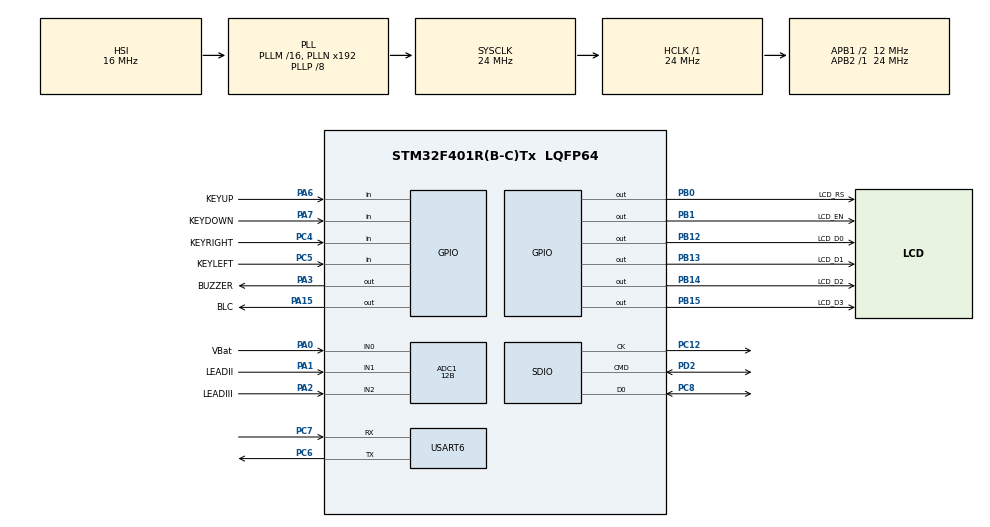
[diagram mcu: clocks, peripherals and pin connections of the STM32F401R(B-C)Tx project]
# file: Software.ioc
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ADC1.Channel-0\#ChannelRegularConversion=ADC_CHANNEL_1
ADC1.Channel-4\#ChannelInjectedConversion=ADC_CHANNEL_0
ADC1.ClockPrescaler=ADC_CLOCK_SYNC_PCLK_DIV8
ADC1.ContinuousConvMode=ENABLE
ADC1.DMAContinuousRequests=ENABLE
ADC1.DataAlign=ADC_DATAALIGN_RIGHT
ADC1.DiscontinuousConvMode=DISABLE
ADC1.EOCSelection=ADC_EOC_SINGLE_CONV
ADC1.EnableAnalogWatchDog=false
ADC1.ExternalTrigConv=ADC_SOFTWARE_START
ADC1.ExternalTrigConvEdge=ADC_EXTERNALTRIGCONVEDGE_NONE
ADC1.InjNumberOfConversion=1
ADC1.InjectedConvMode=None
ADC1.InjectedOffset-4\#ChannelInjectedConversion=0
ADC1.NbrOfConversion=1
ADC1.NbrOfConversionFlag=1
ADC1.Rank-0\#ChannelRegularConversion=1
ADC1.Rank-4\#ChannelInjectedConversion=1
ADC1.Resolution=ADC_RESOLUTION_12B
ADC1.SamplingTime-0\#ChannelRegularConversion=ADC_SAMPLETIME_480CYCLES
ADC1.SamplingTime-4\#ChannelInjectedConversion=ADC_SAMPLETIME_3CYCLES
ADC1.ScanConvMode=ENABLE
ADC1.master=1
Dma.ADC1.0.Direction=DMA_PERIPH_TO_MEMORY
Dma.ADC1.0.FIFOMode=DMA_FIFOMODE_DISABLE
Dma.ADC1.0.Instance=DMA2_Stream0
Dma.ADC1.0.MemDataAlignment=DMA_MDATAALIGN_HALFWORD
Dma.ADC1.0.MemInc=DMA_MINC_ENABLE
Dma.ADC1.0.Mode=DMA_CIRCULAR
Dma.ADC1.0.PeriphDataAlignment=DMA_PDATAALIGN_HALFWORD
Dma.ADC1.0.PeriphInc=DMA_PINC_DISABLE
Dma.ADC1.0.Priority=DMA_PRIORITY_LOW
Dma.Request0=ADC1
FREERTOS.Queues01=KeysCommand,16,uint16_t,NULL,Dynamic,NULL,NULL;BLK_EN_Q,16,uint16_t,NULL,Dynamic,NULL,NULL
FREERTOS.Tasks01=ReadSignal,2,128,StartReadSignal,Default,NULL,Dynamic,NULL,NULL;DisplayLCD,-3,128,StartDispalyLCD,Default,NULL,Dynamic,NULL,NULL;MonitorKeys,0,128,StartMonitorKeys,Default,NULL,Dynamic,NULL,NULL;WriteSD,2,128,StartWriteSD,Default,NULL,Dynamic,NULL,NULL;TimeCount,-3,128,StartTimeCount,Default,NULL,Dynamic,NULL,NULL;BLK_EN_Task,-3,128,Start_BLKEN,Default,NULL,Dynamic,NULL,NULL;VBat_Monitor,-3,128,Read_Vbat,Default,NULL,Dynamic,NULL,NULL
Mcu.Family=STM32F4
Mcu.Name=STM32F401R(B-C)Tx
Mcu.Package=LQFP64
NVIC.DMA2_Stream0_IRQn=true\:5\:0\:false\:false\:true\:true\:false
NVIC.PriorityGroup=NVIC_PRIORITYGROUP_4
NVIC.RTC_Alarm_IRQn=true\:5\:0\:false\:false\:true\:true\:true
NVIC.TIM1_UP_TIM10_IRQn=true\:0\:0\:false\:false\:true\:false\:false
NVIC.TimeBase=TIM1_UP_TIM10_IRQn
NVIC.TimeBaseIP=TIM1
PA0-WKUP.GPIO_Label=VBat
PA0-WKUP.Signal=ADCx_IN0
PA1.GPIO_Label=LEADII
PA1.Signal=ADCx_IN1
PA15.GPIO_Label=BLC
PA15.Signal=GPIO_Output
PA2.GPIO_Label=LEADIII
PA2.Signal=ADCx_IN2
PA3.GPIO_Label=BUZZER
PA3.Signal=GPIO_Output
PA6.GPIO_Label=KEYUP
PA6.GPIO_PuPd=GPIO_PULLUP
PA6.Signal=GPIO_Input
PA7.GPIO_Label=KEYDOWN
PA7.GPIO_PuPd=GPIO_PULLUP
PA7.Signal=GPIO_Input
PB0.GPIO_Label=LCD_RS
PB0.Signal=GPIO_Output
PB1.GPIO_Label=LCD_EN
PB1.Signal=GPIO_Output
PB12.GPIO_Label=LCD_D0
PB12.Signal=GPIO_Output
PB13.GPIO_Label=LCD_D1
PB13.Signal=GPIO_Output
PB14.GPIO_Label=LCD_D2
PB14.Signal=GPIO_Output
PB15.GPIO_Label=LCD_D3
PB15.Signal=GPIO_Output
PC12.Mode=SD_1_bit
PC12.Signal=SDIO_CK
PC4.GPIO_Label=KEYRIGHT
PC4.GPIO_PuPd=GPIO_PULLUP
PC4.Signal=GPIO_Input
PC5.GPIO_Label=KEYLEFT
PC5.GPIO_PuPd=GPIO_PULLUP
PC5.Signal=GPIO_Input
PC6.Mode=Asynchronous
PC6.Signal=USART6_TX
PC7.Mode=Asynchronous
PC7.Signal=USART6_RX
PC8.Mode=SD_1_bit
PC8.Signal=SDIO_D0
PD2.Mode=SD_1_bit
PD2.Signal=SDIO_CMD
ProjectManager.HeapSize=0x200
ProjectManager.StackSize=0x400
ProjectManager.TargetToolchain=MDK-ARM V5
RCC.48MHZClocksFreq_Value=24000000
RCC.AHBFreq_Value=24000000
RCC.APB1CLKDivider=RCC_HCLK_DIV2
RCC.APB1Freq_Value=12000000
RCC.APB1TimFreq_Value=24000000
RCC.APB2Freq_Value=24000000
RCC.APB2TimFreq_Value=24000000
RCC.CortexFreq_Value=24000000
RCC.HCLKFreq_Value=24000000
RCC.HSE_VALUE=8000000
RCC.HSI_VALUE=16000000
RCC.LSE_VALUE=32768
RCC.PLLP=RCC_PLLP_DIV8
RCC.PLLQ=8
RCC.SYSCLKFreq_VALUE=24000000
RCC.SYSCLKSource=RCC_SYSCLKSOURCE_PLLCLK
RCC.VCOOutputFreq_Value=192000000
RTC.Alarm=RTC_ALARM_A
RTC.Date=1
RTC.Format=RTC_FORMAT_BIN
RTC.HourFormat=RTC_HOURFORMAT_24
RTC.Hours=0
RTC.Minutes=0
RTC.Seconds=0
RTC.Seconds_A=1
RTC.StoreOperation=RTC_STOREOPERATION_SET
RTC.SynchPrediv=251
RTC.Year=18
SH.ADCx_IN0.0=ADC1_IN0,IN0
SH.ADCx_IN1.0=ADC1_IN1,IN1
SH.ADCx_IN2.0=ADC1_IN2,IN2
USART6.VirtualMode=VM_ASYNC
VP_FATFS_VS_SDIO.Mode=SDIO
VP_FREERTOS_VS_ENABLE.Mode=Enabled
VP_RTC_VS_RTC_Activate.Mode=RTC_Enabled
VP_RTC_VS_RTC_Alarm_A_Intern.Mode=Alarm A
VP_RTC_VS_RTC_Calendar.Mode=RTC_Calendar
VP_SYS_VS_tim1.Mode=TIM1
board=Software

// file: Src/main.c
/**
  ******************************************************************************
  * File Name          : main.c
  * Description        : Main program body
  ******************************************************************************
  * This notice applies to any and all portions of this file
  * that are not between comment pairs USER CODE BEGIN and
  * USER CODE END. Other portions of this file, whether
  * inserted by the user or by software development tools
  * are owned by their respective copyright owners.
  *
  * Copyright (c) 2018 STMicroelectronics International N.V.
  * All rights reserved.
  *
  * Redistribution and use in source and binary forms, with or without
  * modification, are permitted, provided that the following conditions are met:
  *
  * 1. Redistribution of source code must retain the above copyright notice,
  *    this list of conditions and the following disclaimer.
  * 2. Redistributions in binary form must reproduce the above copyright notice,
  *    this list of conditions and the following disclaimer in the documentation
  *    and/or other materials provided with the distribution.
  * 3. Neither the name of STMicroelectronics nor the names of other
  *    contributors to this software may be used to endorse or promote products
  *    derived from this software without specific written permission.
  * 4. This software, including modifications and/or derivative works of this
  *    software, must execute solely and exclusively on microcontroller or
  *    microprocessor devices manufactured by or for STMicroelectronics.
  * 5. Redistribution and use of this software other than as permitted under
  *    this license is void and will automatically terminate your rights under
  *    this license.
  *
  * THIS SOFTWARE IS PROVIDED BY STMICROELECTRONICS AND CONTRIBUTORS "AS IS"
  * AND ANY EXPRESS, IMPLIED OR STATUTORY WARRANTIES, INCLUDING, BUT NOT
  * LIMITED TO, THE IMPLIED WARRANTIES OF MERCHANTABILITY, FITNESS FOR A
  * PARTICULAR PURPOSE AND NON-INFRINGEMENT OF THIRD PARTY INTELLECTUAL PROPERTY
  * RIGHTS ARE DISCLAIMED TO THE FULLEST EXTENT PERMITTED BY LAW. IN NO EVENT
  * SHALL STMICROELECTRONICS OR CONTRIBUTORS BE LIABLE FOR ANY DIRECT, INDIRECT,
  * INCIDENTAL, SPECIAL, EXEMPLARY, OR CONSEQUENTIAL DAMAGES (INCLUDING, BUT NOT
  * LIMITED TO, PROCUREMENT OF SUBSTITUTE GOODS OR SERVICES; LOSS OF USE, DATA,
  * OR PROFITS; OR BUSINESS INTERRUPTION) HOWEVER CAUSED AND ON ANY THEORY OF
  * LIABILITY, WHETHER IN CONTRACT, STRICT LIABILITY, OR TORT (INCLUDING
  * NEGLIGENCE OR OTHERWISE) ARISING IN ANY WAY OUT OF THE USE OF THIS SOFTWARE,
  * EVEN IF ADVISED OF THE POSSIBILITY OF SUCH DAMAGE.
  *
  ******************************************************************************
  */
#include "main.h"
#include "stm32f4xx_hal.h"
#include "cmsis_os.h"
#include "fatfs.h"

/* USER CODE BEGIN Includes */
#include "stm32_topway_16x2.h"
#include "RTC_user_init.h"
/* USER CODE END Includes */

ADC_HandleTypeDef hadc1;
DMA_HandleTypeDef hdma_adc1;

RTC_HandleTypeDef hrtc;

SD_HandleTypeDef hsd;

UART_HandleTypeDef huart6;

osThreadId ReadSignalHandle;
osThreadId DisplayLCDHandle;
osThreadId MonitorKeysHandle;
osThreadId WriteSDHandle;
osThreadId TimeCountHandle;
osThreadId BLK_EN_TaskHandle;
osThreadId VBat_MonitorHandle;
osMessageQId KeysCommandHandle;
osMessageQId BLK_EN_QHandle;

/* USER CODE BEGIN PV */
/* Type definitions ---------------------------------------------------------*/

/* Private variables ---------------------------------------------------------*/
static volatile uint16_t dma_buffer[16];
uint16_t Adc_values[16];
static volatile uint16_t Vbat_value;
/* USER CODE END PV */

void SystemClock_Config(void);
static void MX_GPIO_Init(void);
static void MX_DMA_Init(void);
static void MX_ADC1_Init(void);
static void MX_SDIO_SD_Init(void);
static void MX_USART6_UART_Init(void);
static void MX_RTC_Init(void);
void StartReadSignal(void const * argument);
void StartDispalyLCD(void const * argument);
void StartMonitorKeys(void const * argument);
void StartWriteSD(void const * argument);
void StartTimeCount(void const * argument);
void Start_BLKEN(void const * argument);
void Read_Vbat(void const * argument);

/* USER CODE BEGIN PFP */
/* Private function prototypes -----------------------------------------------*/

/* USER CODE END PFP */

/* USER CODE BEGIN 0 */
void HAL_ADC_ConvCpltCallback(ADC_HandleTypeDef* hadc)
{
	uint8_t indx = 0;
	for(indx = 0; indx < 16; indx++)
	{
		Adc_values[indx] = dma_buffer[indx];
	}
}

/* USER CODE END 0 */

int main(void)
{

  /* MCU Configuration----------------------------------------------------------*/

  /* Reset of all peripherals, Initializes the Flash interface and the Systick. */
  HAL_Init();

  /* Configure the system clock */
  SystemClock_Config();

  /* Initialize all configured peripherals */
  MX_GPIO_Init();
  MX_DMA_Init();
  MX_ADC1_Init();
  MX_SDIO_SD_Init();
  MX_USART6_UART_Init();
  MX_RTC_Init();

  /* USER CODE BEGIN 2 */
  LCD1602_Begin4BIT(LCD_RS_GPIO_Port, LCD_RS_Pin, LCD_EN_Pin,
  LCD_D0_GPIO_Port, LCD_D0_Pin, LCD_D1_Pin, LCD_D2_Pin, LCD_D3_Pin);
  LCD1602_noCursor();
  LCD1602_noBlink();
  LCD1602_clear();
  HAL_ADC_Start(&hadc1);
  HAL_ADC_Start_DMA(&hadc1, (uint32_t*)dma_buffer, 16);
  SetSystemTime();
  /* USER CODE END 2 */

  /* Create the thread(s) */
  /* definition and creation of ReadSignal */
  osThreadDef(ReadSignal, StartReadSignal, osPriorityHigh, 0, 128);
  ReadSignalHandle = osThreadCreate(osThread(ReadSignal), NULL);

  /* definition and creation of DisplayLCD */
  osThreadDef(DisplayLCD, StartDispalyLCD, osPriorityIdle, 0, 128);
  DisplayLCDHandle = osThreadCreate(osThread(DisplayLCD), NULL);

  /* definition and creation of MonitorKeys */
  osThreadDef(MonitorKeys, StartMonitorKeys, osPriorityNormal, 0, 128);
  MonitorKeysHandle = osThreadCreate(osThread(MonitorKeys), NULL);

  /* definition and creation of WriteSD */
  osThreadDef(WriteSD, StartWriteSD, osPriorityHigh, 0, 128);
  WriteSDHandle = osThreadCreate(osThread(WriteSD), NULL);

  /* definition and creation of TimeCount */
  osThreadDef(TimeCount, StartTimeCount, osPriorityIdle, 0, 128);
  TimeCountHandle = osThreadCreate(osThread(TimeCount), NULL);

  /* definition and creation of BLK_EN_Task */
  osThreadDef(BLK_EN_Task, Start_BLKEN, osPriorityIdle, 0, 128);
  BLK_EN_TaskHandle = osThreadCreate(osThread(BLK_EN_Task), NULL);

  /* definition and creation of VBat_Monitor */
  osThreadDef(VBat_Monitor, Read_Vbat, osPriorityIdle, 0, 128);
  VBat_MonitorHandle = osThreadCreate(osThread(VBat_Monitor), NULL);

  /* Create the queue(s) */
  /* definition and creation of KeysCommand */
  osMessageQDef(KeysCommand, 16, uint16_t);
  KeysCommandHandle = osMessageCreate(osMessageQ(KeysCommand), NULL);

  /* definition and creation of BLK_EN_Q */
  osMessageQDef(BLK_EN_Q, 16, uint16_t);
  BLK_EN_QHandle = osMessageCreate(osMessageQ(BLK_EN_Q), NULL);

  /* Start scheduler */
  osKernelStart();

  /* We should never get here as control is now taken by the scheduler */

  /* Infinite loop */
  while (1)
  {

  }

}

/** System Clock Configuration
*/
void SystemClock_Config(void)
{

  RCC_OscInitTypeDef RCC_OscInitStruct;
  RCC_ClkInitTypeDef RCC_ClkInitStruct;
  RCC_PeriphCLKInitTypeDef PeriphClkInitStruct;

    /**Configure the main internal regulator output voltage
    */
  __HAL_RCC_PWR_CLK_ENABLE();

  __HAL_PWR_VOLTAGESCALING_CONFIG(PWR_REGULATOR_VOLTAGE_SCALE2);

    /**Initializes the CPU, AHB and APB busses clocks
    */
  RCC_OscInitStruct.OscillatorType = RCC_OSCILLATORTYPE_HSI|RCC_OSCILLATORTYPE_LSI;
  RCC_OscInitStruct.HSIState = RCC_HSI_ON;
  RCC_OscInitStruct.HSICalibrationValue = 16;
  RCC_OscInitStruct.LSIState = RCC_LSI_ON;
  RCC_OscInitStruct.PLL.PLLState = RCC_PLL_ON;
  RCC_OscInitStruct.PLL.PLLSource = RCC_PLLSOURCE_HSI;
  RCC_OscInitStruct.PLL.PLLM = 16;
  RCC_OscInitStruct.PLL.PLLN = 192;
  RCC_OscInitStruct.PLL.PLLP = RCC_PLLP_DIV8;
  RCC_OscInitStruct.PLL.PLLQ = 8;
  if (HAL_RCC_OscConfig(&RCC_OscInitStruct) != HAL_OK)
  {
    _Error_Handler(__FILE__, __LINE__);
  }

    /**Initializes the CPU, AHB and APB busses clocks
    */
  RCC_ClkInitStruct.ClockType = RCC_CLOCKTYPE_HCLK|RCC_CLOCKTYPE_SYSCLK
                              |RCC_CLOCKTYPE_PCLK1|RCC_CLOCKTYPE_PCLK2;
  RCC_ClkInitStruct.SYSCLKSource = RCC_SYSCLKSOURCE_PLLCLK;
  RCC_ClkInitStruct.AHBCLKDivider = RCC_SYSCLK_DIV1;
  RCC_ClkInitStruct.APB1CLKDivider = RCC_HCLK_DIV2;
  RCC_ClkInitStruct.APB2CLKDivider = RCC_HCLK_DIV1;

  if (HAL_RCC_ClockConfig(&RCC_ClkInitStruct, FLASH_LATENCY_0) != HAL_OK)
  {
    _Error_Handler(__FILE__, __LINE__);
  }

  PeriphClkInitStruct.PeriphClockSelection = RCC_PERIPHCLK_RTC;
  PeriphClkInitStruct.RTCClockSelection = RCC_RTCCLKSOURCE_LSI;
  if (HAL_RCCEx_PeriphCLKConfig(&PeriphClkInitStruct) != HAL_OK)
  {
    _Error_Handler(__FILE__, __LINE__);
  }

    /**Configure the Systick interrupt time
    */
  HAL_SYSTICK_Config(HAL_RCC_GetHCLKFreq()/1000);

    /**Configure the Systick
    */
  HAL_SYSTICK_CLKSourceConfig(SYSTICK_CLKSOURCE_HCLK);

  /* SysTick_IRQn interrupt configuration */
  HAL_NVIC_SetPriority(SysTick_IRQn, 15, 0);
}

/* ADC1 init function */
static void MX_ADC1_Init(void)
{

  ADC_ChannelConfTypeDef sConfig;
  ADC_InjectionConfTypeDef sConfigInjected;

    /**Configure the global features of the ADC (Clock, Resolution, Data Alignment and number of conversion)
    */
  hadc1.Instance = ADC1;
  hadc1.Init.ClockPrescaler = ADC_CLOCK_SYNC_PCLK_DIV8;
  hadc1.Init.Resolution = ADC_RESOLUTION_12B;
  hadc1.Init.ScanConvMode = ENABLE;
  hadc1.Init.ContinuousConvMode = ENABLE;
  hadc1.Init.DiscontinuousConvMode = DISABLE;
  hadc1.Init.ExternalTrigConvEdge = ADC_EXTERNALTRIGCONVEDGE_NONE;
  hadc1.Init.ExternalTrigConv = ADC_SOFTWARE_START;
  hadc1.Init.DataAlign = ADC_DATAALIGN_RIGHT;
  hadc1.Init.NbrOfConversion = 1;
  hadc1.Init.DMAContinuousRequests = ENABLE;
  hadc1.Init.EOCSelection = ADC_EOC_SINGLE_CONV;
  if (HAL_ADC_Init(&hadc1) != HAL_OK)
  {
    _Error_Handler(__FILE__, __LINE__);
  }

    /**Configure for the selected ADC regular channel its corresponding rank in the sequencer and its sample time.
    */
  sConfig.Channel = ADC_CHANNEL_1;
  sConfig.Rank = 1;
  sConfig.SamplingTime = ADC_SAMPLETIME_480CYCLES;
  if (HAL_ADC_ConfigChannel(&hadc1, &sConfig) != HAL_OK)
  {
    _Error_Handler(__FILE__, __LINE__);
  }

    /**Configures for the selected ADC injected channel its corresponding rank in the sequencer and its sample time
    */
  sConfigInjected.InjectedChannel = ADC_CHANNEL_0;
  sConfigInjected.InjectedRank = 1;
  sConfigInjected.InjectedNbrOfConversion = 1;
  sConfigInjected.InjectedSamplingTime = ADC_SAMPLETIME_3CYCLES;
  sConfigInjected.ExternalTrigInjecConvEdge = ADC_EXTERNALTRIGINJECCONVEDGE_NONE;
  sConfigInjected.ExternalTrigInjecConv = ADC_INJECTED_SOFTWARE_START;
  sConfigInjected.AutoInjectedConv = DISABLE;
  sConfigInjected.InjectedDiscontinuousConvMode = DISABLE;
  sConfigInjected.InjectedOffset = 0;
  if (HAL_ADCEx_InjectedConfigChannel(&hadc1, &sConfigInjected) != HAL_OK)
  {
    _Error_Handler(__FILE__, __LINE__);
  }

}

/* RTC init function */
static void MX_RTC_Init(void)
{

  RTC_TimeTypeDef sTime;
  RTC_DateTypeDef sDate;
  RTC_AlarmTypeDef sAlarm;

    /**Initialize RTC Only
    */
  hrtc.Instance = RTC;
  hrtc.Init.HourFormat = RTC_HOURFORMAT_24;
  hrtc.Init.AsynchPrediv = 127;
  hrtc.Init.SynchPrediv = 251;
  hrtc.Init.OutPut = RTC_OUTPUT_DISABLE;
  hrtc.Init.OutPutPolarity = RTC_OUTPUT_POLARITY_HIGH;
  hrtc.Init.OutPutType = RTC_OUTPUT_TYPE_OPENDRAIN;
  if (HAL_RTC_Init(&hrtc) != HAL_OK)
  {
    _Error_Handler(__FILE__, __LINE__);
  }

    /**Initialize RTC and set the Time and Date
    */
  if(HAL_RTCEx_BKUPRead(&hrtc, RTC_BKP_DR0) != 0x32F2){
  sTime.Hours = 0;
  sTime.Minutes = 0;
  sTime.Seconds = 0;
  sTime.DayLightSaving = RTC_DAYLIGHTSAVING_NONE;
  sTime.StoreOperation = RTC_STOREOPERATION_SET;
  if (HAL_RTC_SetTime(&hrtc, &sTime, RTC_FORMAT_BIN) != HAL_OK)
  {
    _Error_Handler(__FILE__, __LINE__);
  }

  sDate.WeekDay = RTC_WEEKDAY_MONDAY;
  sDate.Month = RTC_MONTH_JANUARY;
  sDate.Date = 1;
  sDate.Year = 18;

  if (HAL_RTC_SetDate(&hrtc, &sDate, RTC_FORMAT_BIN) != HAL_OK)
  {
    _Error_Handler(__FILE__, __LINE__);
  }

    HAL_RTCEx_BKUPWrite(&hrtc,RTC_BKP_DR0,0x32F2);
  }
    /**Enable the Alarm A
    */
  sAlarm.AlarmTime.Hours = 0;
  sAlarm.AlarmTime.Minutes = 0;
  sAlarm.AlarmTime.Seconds = 1;
  sAlarm.AlarmTime.SubSeconds = 0;
  sAlarm.AlarmTime.DayLightSaving = RTC_DAYLIGHTSAVING_NONE;
  sAlarm.AlarmTime.StoreOperation = RTC_STOREOPERATION_SET;
  sAlarm.AlarmMask = RTC_ALARMMASK_NONE;
  sAlarm.AlarmSubSecondMask = RTC_ALARMSUBSECONDMASK_ALL;
  sAlarm.AlarmDateWeekDaySel = RTC_ALARMDATEWEEKDAYSEL_DATE;
  sAlarm.AlarmDateWeekDay = 1;
  sAlarm.Alarm = RTC_ALARM_A;
  if (HAL_RTC_SetAlarm_IT(&hrtc, &sAlarm, RTC_FORMAT_BIN) != HAL_OK)
  {
    _Error_Handler(__FILE__, __LINE__);
  }

}

/* SDIO init function */
static void MX_SDIO_SD_Init(void)
{

  hsd.Instance = SDIO;
  hsd.Init.ClockEdge = SDIO_CLOCK_EDGE_RISING;
  hsd.Init.ClockBypass = SDIO_CLOCK_BYPASS_DISABLE;
  hsd.Init.ClockPowerSave = SDIO_CLOCK_POWER_SAVE_DISABLE;
  hsd.Init.BusWide = SDIO_BUS_WIDE_1B;
  hsd.Init.HardwareFlowControl = SDIO_HARDWARE_FLOW_CONTROL_DISABLE;
  hsd.Init.ClockDiv = 0;

}

/* USART6 init function */
static void MX_USART6_UART_Init(void)
{

  huart6.Instance = USART6;
  huart6.Init.BaudRate = 115200;
  huart6.Init.WordLength = UART_WORDLENGTH_8B;
  huart6.Init.StopBits = UART_STOPBITS_1;
  huart6.Init.Parity = UART_PARITY_NONE;
  huart6.Init.Mode = UART_MODE_TX_RX;
  huart6.Init.HwFlowCtl = UART_HWCONTROL_NONE;
  huart6.Init.OverSampling = UART_OVERSAMPLING_16;
  if (HAL_UART_Init(&huart6) != HAL_OK)
  {
    _Error_Handler(__FILE__, __LINE__);
  }

}

static void MX_DMA_Init(void)
{
  /* DMA controller clock enable */
  __HAL_RCC_DMA2_CLK_ENABLE();

  /* DMA interrupt init */
  /* DMA2_Stream0_IRQn interrupt configuration */
  HAL_NVIC_SetPriority(DMA2_Stream0_IRQn, 5, 0);
  HAL_NVIC_EnableIRQ(DMA2_Stream0_IRQn);

}

/** Configure pins as
        * Analog
        * Input
        * Output
        * EVENT_OUT
        * EXTI
*/
static void MX_GPIO_Init(void)
{

  GPIO_InitTypeDef GPIO_InitStruct;

  /* GPIO Ports Clock Enable */
  __HAL_RCC_GPIOA_CLK_ENABLE();
  __HAL_RCC_GPIOC_CLK_ENABLE();
  __HAL_RCC_GPIOB_CLK_ENABLE();
  __HAL_RCC_GPIOD_CLK_ENABLE();

  /*Configure GPIO pin Output Level */
  HAL_GPIO_WritePin(GPIOA, BUZZER_Pin|BLC_Pin, GPIO_PIN_RESET);

  /*Configure GPIO pin Output Level */
  HAL_GPIO_WritePin(GPIOB, LCD_RS_Pin|LCD_EN_Pin|LCD_D0_Pin|LCD_D1_Pin
                          |LCD_D2_Pin|LCD_D3_Pin, GPIO_PIN_RESET);

  /*Configure GPIO pins : BUZZER_Pin BLC_Pin */
  GPIO_InitStruct.Pin = BUZZER_Pin|BLC_Pin;
  GPIO_InitStruct.Mode = GPIO_MODE_OUTPUT_PP;
  GPIO_InitStruct.Pull = GPIO_NOPULL;
  GPIO_InitStruct.Speed = GPIO_SPEED_FREQ_LOW;
  HAL_GPIO_Init(GPIOA, &GPIO_InitStruct);

  /*Configure GPIO pins : KEYUP_Pin KEYDOWN_Pin */
  GPIO_InitStruct.Pin = KEYUP_Pin|KEYDOWN_Pin;
  GPIO_InitStruct.Mode = GPIO_MODE_INPUT;
  GPIO_InitStruct.Pull = GPIO_PULLUP;
  HAL_GPIO_Init(GPIOA, &GPIO_InitStruct);

  /*Configure GPIO pins : KEYRIGHT_Pin KEYLEFT_Pin */
  GPIO_InitStruct.Pin = KEYRIGHT_Pin|KEYLEFT_Pin;
  GPIO_InitStruct.Mode = GPIO_MODE_INPUT;
  GPIO_InitStruct.Pull = GPIO_PULLUP;
  HAL_GPIO_Init(GPIOC, &GPIO_InitStruct);

  /*Configure GPIO pins : LCD_RS_Pin LCD_EN_Pin LCD_D0_Pin LCD_D1_Pin
                           LCD_D2_Pin LCD_D3_Pin */
  GPIO_InitStruct.Pin = LCD_RS_Pin|LCD_EN_Pin|LCD_D0_Pin|LCD_D1_Pin
                          |LCD_D2_Pin|LCD_D3_Pin;
  GPIO_InitStruct.Mode = GPIO_MODE_OUTPUT_PP;
  GPIO_InitStruct.Pull = GPIO_NOPULL;
  GPIO_InitStruct.Speed = GPIO_SPEED_FREQ_LOW;
  HAL_GPIO_Init(GPIOB, &GPIO_InitStruct);

}

/* StartReadSignal function */
void StartReadSignal(void const * argument)
{
  /* init code for FATFS */
  MX_FATFS_Init();

  for(;;)
  {
    osDelay(1);
  }
}

/* StartDispalyLCD function */
void StartDispalyLCD(void const * argument)
{
  /* USER CODE BEGIN StartDispalyLCD */
	RTC_TimeTypeDef sTime;
	RTC_DateTypeDef sDate;
  /* Infinite loop */
  for(;;)
  {
		HAL_RTC_GetTime(&hrtc,&sTime,RTC_FORMAT_BIN);
		LCD1602_1stLine();
		LCD1602_PrintInt((int)(sTime.Hours), (uint8_t)2);
		LCD1602_print(":");
		LCD1602_PrintInt((int)(sTime.Minutes), (uint8_t)2);
		LCD1602_print(":");
		LCD1602_PrintInt((int)(sTime.Seconds), (uint8_t)2);
		HAL_RTC_GetDate(&hrtc, &sDate, RTC_FORMAT_BIN);

    osDelay(1000);
  }
  /* USER CODE END StartDispalyLCD */
}

/* StartMonitorKeys function */
void StartMonitorKeys(void const * argument)
{
  /* USER CODE BEGIN StartMonitorKeys */
	GPIO_PinState keyup_state, keydown_state, keyright_state, keyleft_state;
	uint16_t tenSecDelay = 10000;
  /* Infinite loop */
  for(;;)
  {
		keyup_state = HAL_GPIO_ReadPin(KEYUP_GPIO_Port, KEYUP_Pin);
		keydown_state = HAL_GPIO_ReadPin(KEYDOWN_GPIO_Port, KEYDOWN_Pin);
		keyright_state = HAL_GPIO_ReadPin(KEYRIGHT_GPIO_Port, KEYRIGHT_Pin);
		keyleft_state = HAL_GPIO_ReadPin(KEYLEFT_GPIO_Port, KEYLEFT_Pin);

		if((!keyup_state) || (!keydown_state)|| (!keyright_state) || (!keyleft_state))
		{
			xQueueReset(BLK_EN_QHandle);
			xQueueSend(BLK_EN_QHandle, (void *)&tenSecDelay, ( TickType_t ) 0);
		}
		else
		{
			/*do nothing*/
		}

    osDelay(100);
  }
  /* USER CODE END StartMonitorKeys */
}

/* StartWriteSD function */
void StartWriteSD(void const * argument)
{
  /* USER CODE BEGIN StartWriteSD */
  /* Infinite loop */
  for(;;)
  {
    osDelay(10);
  }
  /* USER CODE END StartWriteSD */
}

/* StartTimeCount function */
void StartTimeCount(void const * argument)
{
  /* USER CODE BEGIN StartTimeCount */
  /* Infinite loop */
  for(;;)
  {
    osDelay(10);
  }
  /* USER CODE END StartTimeCount */
}

/* Start_BLKEN function */
void Start_BLKEN(void const * argument)
{
  /* USER CODE BEGIN Start_BLKEN */
	uint16_t blkTimeOn;
  /* Infinite loop */
  for(;;)
  {
		HAL_GPIO_WritePin(GPIOA, BLC_Pin, GPIO_PIN_RESET);
		while(!xQueueReceive( BLK_EN_QHandle, &blkTimeOn, ( TickType_t ) 0 ));
		HAL_GPIO_WritePin(GPIOA, BLC_Pin, GPIO_PIN_SET);
    osDelay((uint32_t)blkTimeOn);
  }
  /* USER CODE END Start_BLKEN */
}

/* Read_Vbat function */
void Read_Vbat(void const * argument)
{
  /* USER CODE BEGIN Read_Vbat */
  /* Infinite loop */
  for(;;)
  {
		HAL_ADCEx_InjectedStart(&hadc1);
		HAL_ADC_PollForConversion(&hadc1, 100);
		Vbat_value = (uint16_t)HAL_ADCEx_InjectedGetValue(&hadc1, ADC_INJECTED_RANK_1);
		HAL_ADCEx_InjectedStop(&hadc1);
    osDelay(500);
  }
  /* USER CODE END Read_Vbat */
}

void HAL_TIM_PeriodElapsedCallback(TIM_HandleTypeDef *htim)
{
  if (htim->Instance == TIM1) {
    HAL_IncTick();
  }
}

void _Error_Handler(char * file, int line)
{
  while(1)
  {
  }
}

/************************ (C) COPYRIGHT STMicroelectronics *****END OF FILE****/
